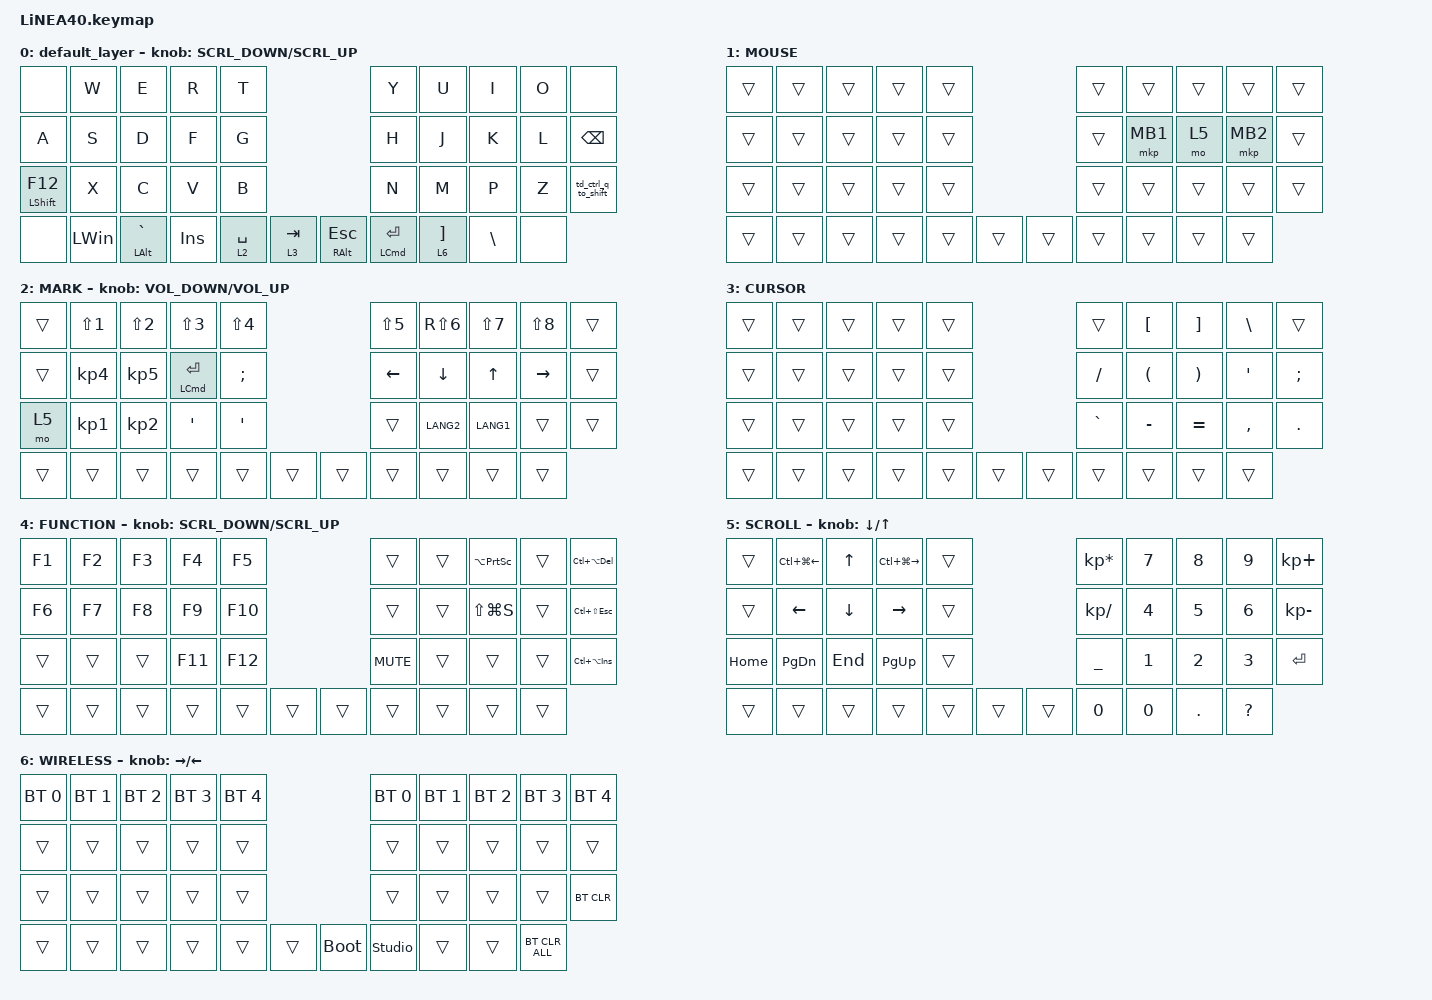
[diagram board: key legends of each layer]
#define ZMK_POINTING_DEFAULT_SCRL_VAL 150

#include <dt-bindings/zmk/input_transform.h>
#include <input/processors.dtsi>
#include <zephyr/dt-bindings/input/input-event-codes.h>
#include <behaviors.dtsi>
#include <dt-bindings/zmk/bt.h>
#include <dt-bindings/zmk/keys.h>
#include <dt-bindings/zmk/pointing.h>

#define MOUSE 1
#define MARK 2
#define CURSOR 3
#define FUNCTION 4
#define SCROLL 5
#define WIRELESS 6

//mouse cursol

&mmv {
    delay-ms = <20>;
    trigger-period-ms = <5>;
    time-to-max-speed-ms = <100>;
    acceleration-exponent = <2>;
};

//mouse scroll

&msc {
    delay-ms = <3>;
    trigger-period-ms = <3>;
    time-to-max-speed-ms = <100>;
    acceleration-exponent = <0>;
};

/ {
    input_processors {
        zip_wheel_scaler: zip_wheel_scaler {
            compatible = "zmk,input-processor-scaler";
            #input-processor-cells = <2>;
            type = <INPUT_EV_REL>;
            codes = <INPUT_REL_WHEEL>;
            track-remainders;
        };
    };
};

&msc_input_listener {
    speed_up {
        layers = <FUNCTION>;
        input-processors = <&zip_wheel_scaler 3 1>; //スクロールを3倍速にする
    };
};

&trackball_listener {
    scroller {
        layers = <SCROLL>;
        input-processors =
            <&zip_xy_transform INPUT_TRANSFORM_Y_INVERT>,
            //スクロール方向を逆転,,,,,,,,,,,,,
            <&zip_xy_to_scroll_mapper>;
    };
};

/ {
    combos {
        compatible = "zmk,combos";

        keypad {
            bindings = <&mo 5>;
            key-positions = <10 34>;
        };
    };

    behaviors {
        re_kp: sensor_rotate_kp {
            compatible = "zmk,behavior-sensor-rotate-var";
            #sensor-binding-cells = <2>;
            bindings = <&kp>, <&kp>;
        };

        mouse_scrl: mouse_wheel_scrl {
            compatible = "zmk,behavior-sensor-rotate-var";
            #sensor-binding-cells = <2>;
            bindings = <&msc>, <&msc>;

            tap-ms = <20>;
        };

        td_ctrl_q_to_shift: td_ctrl_q_to_shift {
            compatible = "zmk,behavior-tap-dance";
            label = "TD_CTRL_Q_TO_SHIFT";
            #binding-cells = <0>;
            bindings = <&mt LEFT_CONTROL Q>, <&kp RIGHT_SHIFT>;
        };
    };

    keymap {
        compatible = "zmk,keymap";

        default_layer {
            bindings = <
&none               &kp W         &kp E               &kp R    &kp T                                           &kp Y                   &kp U  &kp I                &kp O          &none
&kp A               &kp S         &kp D               &kp F    &kp G                                           &kp H                   &kp J  &kp K                &kp L          &kp BACKSPACE
&mt LEFT_SHIFT F12  &kp X         &kp C               &kp V    &kp B                                           &kp N                   &kp M  &kp P                &kp Z          &td_ctrl_q_to_shift
&none               &kp LEFT_WIN  &mt LEFT_ALT GRAVE  &kp INS  &lt 2 SPACE  &lt 3 TAB    &mt RIGHT_ALT ESCAPE  &mt LEFT_COMMAND ENTER         &lt 6 RIGHT_BRACKET  &kp BACKSLASH  &none
            >;

            sensor-bindings = <&mouse_scrl SCRL_DOWN SCRL_UP>;
        };

        //1

        MOUSE {
            bindings = <
&trans  &trans  &trans  &trans  &trans                    &trans  &trans    &trans  &trans    &trans
&trans  &trans  &trans  &trans  &trans                    &trans  &mkp MB1  &mo 5   &mkp MB2  &trans
&trans  &trans  &trans  &trans  &trans                    &trans  &trans    &trans  &trans    &trans
&trans  &trans  &trans  &trans  &trans  &trans    &trans  &trans            &trans  &trans    &trans
            >;
        };

        //2

        MARK {
            bindings = <
&trans  &kp LS(NUMBER_1)  &kp LS(NUMBER_2)  &kp LS(NUMBER_3)        &kp LS(NUMBER_4)                    &kp LS(NUMBER_5)  &kp RS(NUMBER_6)  &kp LS(NUMBER_7)  &kp LS(NUMBER_8)  &trans
&trans  &kp KP_NUMBER_4   &kp KP_NUMBER_5   &mt LEFT_COMMAND ENTER  &kp SEMICOLON                       &kp LEFT_ARROW    &kp DOWN          &kp UP_ARROW      &kp RIGHT         &trans
&mo 5   &kp KP_NUMBER_1   &kp KP_NUMBER_2   &kp APOS                &kp SQT                             &trans            &kp LANG2         &kp LANG1         &trans            &trans
&trans  &trans            &trans            &trans                  &trans            &trans    &trans  &trans                              &trans            &trans            &trans
            >;

            sensor-bindings = <&re_kp C_VOLUME_DOWN C_VOLUME_UP>;
        };

        //3

        CURSOR {
            bindings = <
&trans  &trans  &trans  &trans  &trans                    &trans     &kp LEFT_BRACKET      &kp RIGHT_BRACKET      &kp BACKSLASH     &trans
&trans  &trans  &trans  &trans  &trans                    &kp SLASH  &kp LEFT_PARENTHESIS  &kp RIGHT_PARENTHESIS  &kp SINGLE_QUOTE  &kp SEMICOLON
&trans  &trans  &trans  &trans  &trans                    &kp GRAVE  &kp MINUS             &kp EQUAL              &kp COMMA         &kp PERIOD
&trans  &trans  &trans  &trans  &trans  &trans    &trans  &trans                           &trans                 &trans            &trans
            >;
        };

        //4

        FUNCTION {
            bindings = <
&kp F1  &kp F2  &kp F3  &kp F4   &kp F5                     &trans      &trans  &kp LA(PRINTSCREEN)  &trans  &kp LC(LA(DELETE))
&kp F6  &kp F7  &kp F8  &kp F9   &kp F10                    &trans      &trans  &kp LS(LG(S))        &trans  &kp LC(LS(ESCAPE))
&trans  &trans  &trans  &kp F11  &kp F12                    &kp C_MUTE  &trans  &trans               &trans  &kp LC(LA(INS))
&trans  &trans  &trans  &trans   &trans   &trans    &trans  &trans              &trans               &trans  &trans
            >;

            sensor-bindings = <&mouse_scrl SCRL_DOWN SCRL_UP>;
        };

        //5

        SCROLL {
            bindings = <
&trans    &kp LC(LG(LEFT_ARROW))  &kp UP_ARROW  &kp LC(LG(RIGHT_ARROW))  &trans                    &kp KP_MULTIPLY  &kp NUMBER_7  &kp NUMBER_8  &kp NUMBER_9  &kp KP_PLUS
&trans    &kp LEFT_ARROW          &kp DOWN      &kp RIGHT_ARROW          &trans                    &kp KP_SLASH     &kp NUMBER_4  &kp NUMBER_5  &kp NUMBER_6  &kp KP_MINUS
&kp HOME  &kp PAGE_DOWN           &kp END       &kp PAGE_UP              &trans                    &kp UNDER        &kp NUMBER_1  &kp NUMBER_2  &kp NUMBER_3  &kp ENTER
&trans    &trans                  &trans        &trans                   &trans  &trans    &trans  &kp NUMBER_0                   &kp NUMBER_0  &kp DOT       &kp QUESTION
            >;

            sensor-bindings = <&inc_dec_kp DOWN_ARROW UP_ARROW>;
        };

        //6

        WIRELESS {
            bindings = <
&bt BT_SEL 0  &bt BT_SEL 1  &bt BT_SEL 2  &bt BT_SEL 3  &bt BT_SEL 4                         &bt BT_SEL 0    &bt BT_SEL 1  &bt BT_SEL 2  &bt BT_SEL 3  &bt BT_SEL 4
&trans        &trans        &trans        &trans        &trans                               &trans          &trans        &trans        &trans        &trans
&trans        &trans        &trans        &trans        &trans                               &trans          &trans        &trans        &trans        &bt BT_CLR
&trans        &trans        &trans        &trans        &trans        &trans    &bootloader  &studio_unlock                &trans        &trans        &bt BT_CLR_ALL
            >;

            sensor-bindings = <&inc_dec_kp RIGHT_ARROW LEFT_ARROW>;
        };
    };
};
